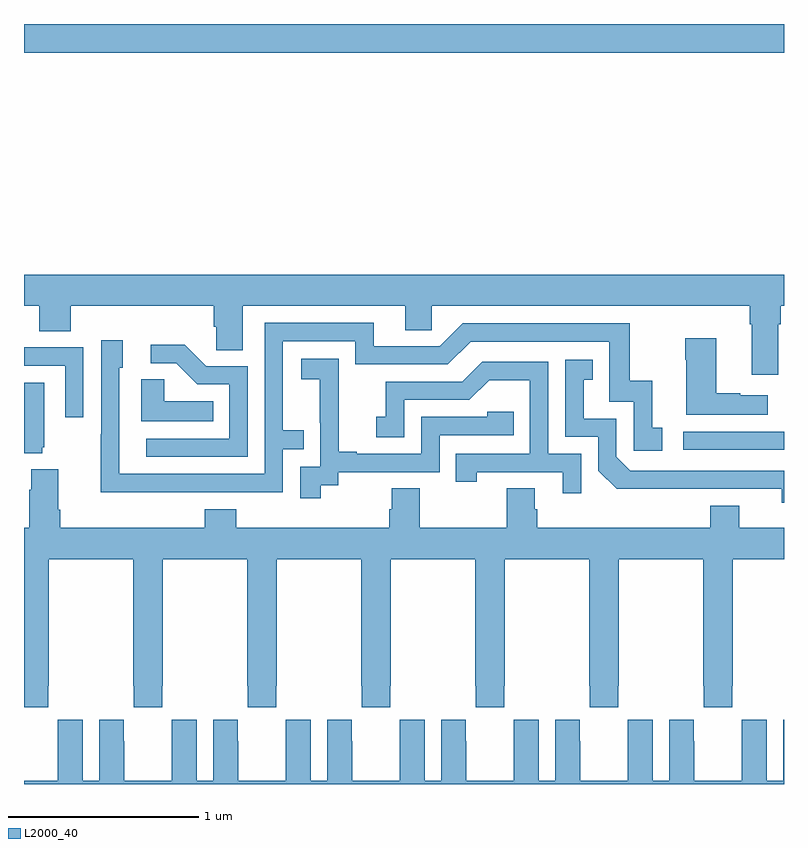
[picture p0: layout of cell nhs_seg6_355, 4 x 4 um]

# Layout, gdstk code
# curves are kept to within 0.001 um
import gdstk
lib = gdstk.Library(unit=1e-6, precision=1e-09)
def R(c, l, rs):  # rectangles x0, y0, x1, y1
    for r in rs: c.add(gdstk.rectangle(r[:2], r[2:], *l))
def P(c, l, *ps):  # polygons
    for p in ps: c.add(gdstk.Polygon(p, *l))
L2000_40 = (2000, 40)

nhs_seg6_355 = lib.new_cell('nhs_seg6_355')
R(nhs_seg6_355, L2000_40, [(134.469,933.258,135,933.354), (131,935.348,135,935.5)])
P(nhs_seg6_355, L2000_40, [(134.971,933.92),(134.984,933.92),(134.984,934.016),(135,934.016),(135,934.18),(131,934.18),(131,934.016),(131.081,934.016),(131.081,933.883),(131.246,933.883),(131.246,934.016),(131.999,934.016),(131.999,933.907),(132.012,933.907),(132.012,933.784),(132.151,933.784),(132.151,934.016),(133.007,934.016),(133.007,933.889),(133.146,933.889),(133.146,934.016),(134.819,934.016),(134.819,933.92),(134.831,933.92),(134.831,933.654),(134.971,933.654)],
  [(131.867,933.036),(132.363,933.036),(132.363,933.261),(132.473,933.261),(132.473,933.362),(132.363,933.362),(132.363,933.831),(132.744,933.831),(132.744,933.708),(133.23,933.708),(133.35,933.828),(134.079,933.828),(134.079,933.513),(134.208,933.513),(134.208,933.255),(134.359,933.255),(134.359,933.375),(134.306,933.375),(134.306,933.622),(134.188,933.622),(134.188,933.924),(133.308,933.924),(133.188,933.804),(132.841,933.804),(132.841,933.927),(132.267,933.927),(132.267,933.132),(131.502,933.132),(131.502,933.69),(131.521,933.69),(131.521,933.835),(131.406,933.835),(131.406,933.341),(131.404,933.341),(131.404,933.035)],
  [(134.914,933.547),(134.771,933.547),(134.771,933.557),(134.644,933.557),(134.644,933.847),(134.479,933.847),(134.479,933.734),(134.486,933.734),(134.486,933.443),(134.914,933.443)],
  [(132.177,933.699),(131.958,933.699),(131.845,933.812),(131.667,933.812),(131.667,933.714),(131.801,933.714),(131.912,933.603),(132.081,933.603),(132.081,933.318),(131.643,933.318),(131.643,933.222),(132.177,933.222)],
  [(131.313,933.798),(131,933.798),(131,933.702),(131.217,933.702),(131.217,933.429),(131.313,933.429)],
  [(132.562,933.073),(132.654,933.073),(132.654,933.141),(133.188,933.141),(133.188,933.336),(133.577,933.336),(133.577,933.459),(133.437,933.459),(133.437,933.432),(133.092,933.432),(133.092,933.237),(132.751,933.237),(132.751,933.25),(132.656,933.25),(132.656,933.533),(132.657,933.533),(132.657,933.739),(132.459,933.739),(132.459,933.629),(132.557,933.629),(132.557,933.401),(132.558,933.401),(132.558,933.171),(132.453,933.171),(132.453,933.003),(132.562,933.003)],
  [(135,933.15),(134.19,933.15),(134.118,933.222),(134.118,933.423),(133.945,933.423),(133.945,933.627),(133.994,933.627),(133.994,933.733),(133.848,933.733),(133.848,933.327),(134.022,933.327),(134.022,933.15),(134.12,933.053),(134.988,933.054),(134.988,932.981),(135,932.981)],
  [(133.932,933.237),(133.758,933.237),(133.758,933.723),(133.412,933.723),(133.307,933.618),(132.904,933.618),(132.904,933.433),(132.855,933.433),(132.855,933.324),(133.002,933.324),(133.002,933.522),(133.344,933.522),(133.448,933.626),(133.662,933.626),(133.662,933.237),(133.273,933.237),(133.273,933.09),(133.384,933.09),(133.384,933.141),(133.835,933.141),(133.835,933.03),(133.932,933.03)],
  [(131.996,933.514),(131.739,933.514),(131.739,933.629),(131.618,933.629),(131.618,933.41),(131.996,933.41)],
  [(131.096,933.273),(131.107,933.273),(131.107,933.613),(131,933.613),(131,933.242),(131.096,933.242)],
  [(133.7,932.946),(133.687,932.946),(133.687,933.056),(133.54,933.056),(133.54,932.848),(133.083,932.848),(133.083,933.056),(132.935,933.056),(132.935,932.946),(132.923,932.946),(132.923,932.848),(132.116,932.848),(132.116,932.947),(131.951,932.947),(131.951,932.848),(131.192,932.848),(131.192,932.944),(131.179,932.944),(131.179,933.157),(131.039,933.157),(131.039,933.05),(131.027,933.05),(131.027,932.848),(131,932.848),(131,931.905),(131.127,931.905),(131.127,932.017),(131.13,932.017),(131.13,932.684),(131.575,932.684),(131.575,932.017),(131.577,932.017),(131.577,931.905),(131.727,931.905),(131.727,932.017),(131.73,932.017),(131.73,932.684),(132.175,932.684),(132.175,932.017),(132.177,932.017),(132.177,931.905),(132.327,931.905),(132.327,932.017),(132.33,932.017),(132.33,932.684),(132.775,932.684),(132.775,932.017),(132.777,932.017),(132.777,931.905),(132.927,931.905),(132.927,932.017),(132.93,932.017),(132.93,932.684),(133.375,932.684),(133.375,932.017),(133.377,932.017),(133.377,931.905),(133.527,931.905),(133.527,932.017),(133.53,932.017),(133.53,932.684),(133.975,932.684),(133.975,932.017),(133.977,932.017),(133.977,931.905),(134.127,931.905),(134.127,932.017),(134.13,932.017),(134.13,932.684),(134.575,932.684),(134.575,932.017),(134.577,932.017),(134.577,931.905),(134.727,931.905),(134.727,932.017),(134.73,932.017),(134.73,932.684),(135,932.684),(135,932.848),(134.764,932.848),(134.764,932.965),(134.612,932.965),(134.612,932.848),(133.7,932.848)],
  [(134.308,931.837),(134.178,931.837),(134.178,931.724),(134.177,931.724),(134.177,931.516),(133.927,931.516),(133.927,931.724),(133.926,931.724),(133.926,931.837),(133.796,931.837),(133.796,931.516),(133.708,931.516),(133.708,931.837),(133.578,931.837),(133.578,931.724),(133.577,931.724),(133.577,931.516),(133.327,931.516),(133.327,931.724),(133.326,931.724),(133.326,931.837),(133.196,931.837),(133.196,931.516),(133.108,931.516),(133.108,931.837),(132.978,931.837),(132.978,931.724),(132.977,931.724),(132.977,931.516),(132.727,931.516),(132.727,931.724),(132.726,931.724),(132.726,931.837),(132.596,931.837),(132.596,931.516),(132.508,931.516),(132.508,931.837),(132.378,931.837),(132.378,931.724),(132.377,931.724),(132.377,931.516),(132.127,931.516),(132.127,931.724),(132.126,931.724),(132.126,931.837),(131.996,931.837),(131.996,931.516),(131.908,931.516),(131.908,931.837),(131.778,931.837),(131.778,931.724),(131.777,931.724),(131.777,931.516),(131.527,931.516),(131.527,931.724),(131.526,931.724),(131.526,931.837),(131.396,931.837),(131.396,931.516),(131.308,931.516),(131.308,931.837),(131.178,931.837),(131.178,931.724),(131.177,931.724),(131.177,931.516),(131,931.516),(131,931.5),(135,931.5),(135,931.837),(134.996,931.837),(134.996,931.516),(134.908,931.516),(134.908,931.837),(134.778,931.837),(134.778,931.724),(134.777,931.724),(134.777,931.516),(134.527,931.516),(134.527,931.724),(134.526,931.724),(134.526,931.837),(134.396,931.837),(134.396,931.516),(134.308,931.516)])

lib.write_gds('nhs_seg6_355.gds')
